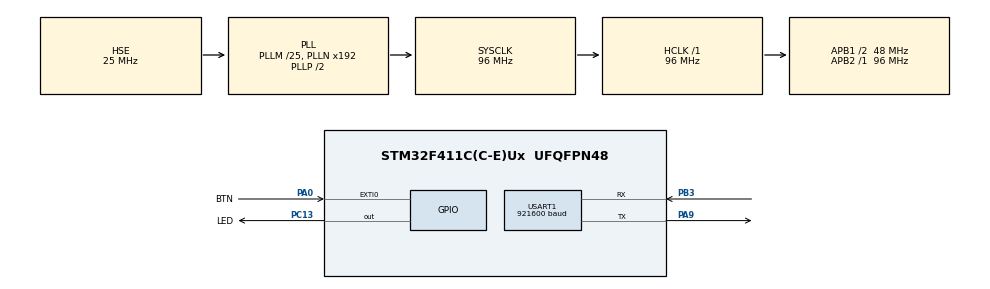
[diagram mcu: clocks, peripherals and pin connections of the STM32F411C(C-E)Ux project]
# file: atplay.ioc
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Dma.Request0=USART1_RX
Dma.USART1_RX.0.Direction=DMA_PERIPH_TO_MEMORY
Dma.USART1_RX.0.FIFOMode=DMA_FIFOMODE_DISABLE
Dma.USART1_RX.0.Instance=DMA2_Stream2
Dma.USART1_RX.0.MemDataAlignment=DMA_MDATAALIGN_BYTE
Dma.USART1_RX.0.MemInc=DMA_MINC_ENABLE
Dma.USART1_RX.0.Mode=DMA_CIRCULAR
Dma.USART1_RX.0.PeriphDataAlignment=DMA_PDATAALIGN_BYTE
Dma.USART1_RX.0.PeriphInc=DMA_PINC_DISABLE
Dma.USART1_RX.0.Priority=DMA_PRIORITY_HIGH
Mcu.Family=STM32F4
Mcu.Name=STM32F411C(C-E)Ux
Mcu.Package=UFQFPN48
NVIC.DMA2_Stream2_IRQn=true\:0\:0\:false\:false\:true\:false\:true\:true
NVIC.PriorityGroup=NVIC_PRIORITYGROUP_4
NVIC.USART1_IRQn=true\:0\:0\:false\:false\:true\:true\:true\:true
PA0-WKUP.GPIO_Label=BTN
PA0-WKUP.GPIO_ModeDefaultEXTI=GPIO_MODE_IT_RISING_FALLING
PA0-WKUP.GPIO_PuPd=GPIO_PULLUP
PA0-WKUP.Signal=GPXTI0
PA13.Mode=Serial_Wire
PA13.Signal=SYS_JTMS-SWDIO
PA14.Mode=Serial_Wire
PA14.Signal=SYS_JTCK-SWCLK
PA9.Mode=Asynchronous
PA9.Signal=USART1_TX
PB3.Mode=Asynchronous
PB3.Signal=USART1_RX
PC13-ANTI_TAMP.GPIO_Label=LED
PC13-ANTI_TAMP.GPIO_ModeDefaultOutputPP=GPIO_MODE_OUTPUT_OD
PC13-ANTI_TAMP.GPIO_PuPd=GPIO_NOPULL
PC13-ANTI_TAMP.PinState=GPIO_PIN_SET
PC13-ANTI_TAMP.Signal=GPIO_Output
PH0\ -\ OSC_IN.Mode=HSE-External-Oscillator
PH0\ -\ OSC_IN.Signal=RCC_OSC_IN
PH1\ -\ OSC_OUT.Mode=HSE-External-Oscillator
PH1\ -\ OSC_OUT.Signal=RCC_OSC_OUT
ProjectManager.HeapSize=0x200
ProjectManager.StackSize=0x400
ProjectManager.TargetToolchain=STM32CubeIDE
RCC.48MHZClocksFreq_Value=48000000
RCC.AHBFreq_Value=96000000
RCC.APB1CLKDivider=RCC_HCLK_DIV2
RCC.APB1Freq_Value=48000000
RCC.APB1TimFreq_Value=96000000
RCC.APB2Freq_Value=96000000
RCC.APB2TimFreq_Value=96000000
RCC.CortexFreq_Value=96000000
RCC.HCLKFreq_Value=96000000
RCC.HSE_VALUE=25000000
RCC.HSI_VALUE=16000000
RCC.LSE_VALUE=32768
RCC.PLLM=25
RCC.PLLSourceVirtual=RCC_PLLSOURCE_HSE
RCC.SYSCLKFreq_VALUE=96000000
RCC.SYSCLKSource=RCC_SYSCLKSOURCE_PLLCLK
RCC.VCOOutputFreq_Value=192000000
USART1.BaudRate=921600
USART1.VirtualMode=VM_ASYNC
board=custom

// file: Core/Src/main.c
/* USER CODE BEGIN Header */
/**
  ******************************************************************************
  * @file           : main.c
  * @brief          : Main program body
  ******************************************************************************
  * @attention
  *
  * Copyright (c) 2022 STMicroelectronics.
  * All rights reserved.
  *
  * This software is licensed under terms that can be found in the LICENSE file
  * in the root directory of this software component.
  * If no LICENSE file comes with this software, it is provided AS-IS.
  *
  ******************************************************************************
  */
/* USER CODE END Header */
#include "main.h"

/* USER CODE BEGIN Includes */
#include "stdio.h"
#include "string.h"
#include "cat.h"
/* USER CODE END Includes */

 UART_HandleTypeDef huart1;
DMA_HandleTypeDef hdma_usart1_rx;

/* USER CODE BEGIN PV */

static uint8_t x;
static uint8_t y;
static char msg[32];

static struct cat_variable go_vars[] = {
        {
                .type = CAT_VAR_UINT_DEC, /* unsigned int variable */
                .data = &x,
                .data_size = sizeof(x),
                .write = x_write,
                .name = "X",
                .access = CAT_VAR_ACCESS_READ_WRITE,
        },
        {
                .type = CAT_VAR_UINT_DEC, /* unsigned int variable */
                .data = &y,
                .data_size = sizeof(y),
                .write = y_write,
                .access = CAT_VAR_ACCESS_READ_WRITE,
        },
        {
                .type = CAT_VAR_BUF_STRING, /* string variable */
                .data = msg,
                .data_size = sizeof(msg),
                .write = msg_write,
                .access = CAT_VAR_ACCESS_READ_WRITE,
        }
};

static struct cat_command cmds[] = {
        {
                .name = "TEST",
                .read = test_read, /* read handler for ATTEST? command */
                .write = test_write, /* write handler for ATTEST={val} command */
                .run = test_run /* run handler for ATTEST command */
        },
        {
                .name = "+NUM",
                .write = num_write, /* write handler for AT+NUM={val} command */
                .read = num_read /* read handler for AT+NUM? command */
        },
        {
                .name = "+GO",
                .write = go_write, /* write handler for AT+GO={x},{y},{msg} command */
                .var = go_vars, /* attach variables to command */
                .var_num = sizeof(go_vars) / sizeof(go_vars[0]),
                .need_all_vars = true
        },
        {
                .name = "RESTART",
                .run = restart_run /* run handler for ATRESTART command */
        }
};

static char working_buf[128]; /* working buffer, must be declared manually */

static struct cat_command_group cmd_group = {
        .cmd = cmds,
        .cmd_num = sizeof(cmds) / sizeof(cmds[0]),
};

static struct cat_command_group *cmd_desc[] = {
        &cmd_group
};

static struct cat_descriptor desc = {
        .cmd_group = cmd_desc,
        .cmd_group_num = sizeof(cmd_desc) / sizeof(cmd_desc[0]),

        .buf = working_buf,
        .buf_size = sizeof(working_buf),
};

static int write_char(char ch)
{
        putc(ch, stdout);
        return 1;
}

static int read_char(char *ch)
{
        *ch = getch();
        return 1;
}

static struct cat_io_interface iface = {
        .read = read_char,
        .write = write_char
};

/* USER CODE END PV */

void SystemClock_Config(void);
static void MX_GPIO_Init(void);
static void MX_DMA_Init(void);
static void MX_USART1_UART_Init(void);

/* USER CODE BEGIN 0 */

// Send printf to uart1
int _write(int fd, char* ptr, int len) {
  HAL_StatusTypeDef hstatus;

  if (fd == 1 || fd == 2) {
    hstatus = HAL_UART_Transmit(&huart1, (uint8_t *) ptr, len, HAL_MAX_DELAY);
  }
  return len;
}

/* USER CODE END 0 */

int main(void)
{

  /* MCU Configuration--------------------------------------------------------*/

  /* Reset of all peripherals, Initializes the Flash interface and the Systick. */
  HAL_Init();

  /* Configure the system clock */
  SystemClock_Config();

  /* Initialize all configured peripherals */
  MX_GPIO_Init();
  MX_DMA_Init();
  MX_USART1_UART_Init();

  /* Infinite loop */
  /* USER CODE BEGIN WHILE */

  uint32_t now = 0, last_blink = 0, last_tick = 0;

  while (1)
  {

	  now = HAL_GetTick();

	  if (now - last_blink >= 500) {

		  HAL_GPIO_TogglePin(LED_GPIO_Port, LED_Pin);

		  last_blink = now;
	  }

	  if (now - last_tick >= 1000) {

		  DBG("Tick %lu", now / 1000);

		  last_tick = now;
	  }

    /* USER CODE END WHILE */

  }
}

void SystemClock_Config(void)
{
  RCC_OscInitTypeDef RCC_OscInitStruct = {0};
  RCC_ClkInitTypeDef RCC_ClkInitStruct = {0};

  /** Configure the main internal regulator output voltage
  */
  __HAL_RCC_PWR_CLK_ENABLE();
  __HAL_PWR_VOLTAGESCALING_CONFIG(PWR_REGULATOR_VOLTAGE_SCALE1);

  /** Initializes the RCC Oscillators according to the specified parameters
  * in the RCC_OscInitTypeDef structure.
  */
  RCC_OscInitStruct.OscillatorType = RCC_OSCILLATORTYPE_HSE;
  RCC_OscInitStruct.HSEState = RCC_HSE_ON;
  RCC_OscInitStruct.PLL.PLLState = RCC_PLL_ON;
  RCC_OscInitStruct.PLL.PLLSource = RCC_PLLSOURCE_HSE;
  RCC_OscInitStruct.PLL.PLLM = 25;
  RCC_OscInitStruct.PLL.PLLN = 192;
  RCC_OscInitStruct.PLL.PLLP = RCC_PLLP_DIV2;
  RCC_OscInitStruct.PLL.PLLQ = 4;
  if (HAL_RCC_OscConfig(&RCC_OscInitStruct) != HAL_OK)
  {
    Error_Handler();
  }

  /** Initializes the CPU, AHB and APB buses clocks
  */
  RCC_ClkInitStruct.ClockType = RCC_CLOCKTYPE_HCLK|RCC_CLOCKTYPE_SYSCLK
                              |RCC_CLOCKTYPE_PCLK1|RCC_CLOCKTYPE_PCLK2;
  RCC_ClkInitStruct.SYSCLKSource = RCC_SYSCLKSOURCE_PLLCLK;
  RCC_ClkInitStruct.AHBCLKDivider = RCC_SYSCLK_DIV1;
  RCC_ClkInitStruct.APB1CLKDivider = RCC_HCLK_DIV2;
  RCC_ClkInitStruct.APB2CLKDivider = RCC_HCLK_DIV1;

  if (HAL_RCC_ClockConfig(&RCC_ClkInitStruct, FLASH_LATENCY_3) != HAL_OK)
  {
    Error_Handler();
  }
}

static void MX_USART1_UART_Init(void)
{

  huart1.Instance = USART1;
  huart1.Init.BaudRate = 921600;
  huart1.Init.WordLength = UART_WORDLENGTH_8B;
  huart1.Init.StopBits = UART_STOPBITS_1;
  huart1.Init.Parity = UART_PARITY_NONE;
  huart1.Init.Mode = UART_MODE_TX_RX;
  huart1.Init.HwFlowCtl = UART_HWCONTROL_NONE;
  huart1.Init.OverSampling = UART_OVERSAMPLING_16;
  if (HAL_UART_Init(&huart1) != HAL_OK)
  {
    Error_Handler();
  }

}

static void MX_DMA_Init(void)
{

  /* DMA controller clock enable */
  __HAL_RCC_DMA2_CLK_ENABLE();

  /* DMA interrupt init */
  /* DMA2_Stream2_IRQn interrupt configuration */
  HAL_NVIC_SetPriority(DMA2_Stream2_IRQn, 0, 0);
  HAL_NVIC_EnableIRQ(DMA2_Stream2_IRQn);

}

static void MX_GPIO_Init(void)
{
  GPIO_InitTypeDef GPIO_InitStruct = {0};

  /* GPIO Ports Clock Enable */
  __HAL_RCC_GPIOC_CLK_ENABLE();
  __HAL_RCC_GPIOH_CLK_ENABLE();
  __HAL_RCC_GPIOA_CLK_ENABLE();
  __HAL_RCC_GPIOB_CLK_ENABLE();

  /*Configure GPIO pin Output Level */
  HAL_GPIO_WritePin(LED_GPIO_Port, LED_Pin, GPIO_PIN_SET);

  /*Configure GPIO pin : LED_Pin */
  GPIO_InitStruct.Pin = LED_Pin;
  GPIO_InitStruct.Mode = GPIO_MODE_OUTPUT_OD;
  GPIO_InitStruct.Pull = GPIO_NOPULL;
  GPIO_InitStruct.Speed = GPIO_SPEED_FREQ_LOW;
  HAL_GPIO_Init(LED_GPIO_Port, &GPIO_InitStruct);

  /*Configure GPIO pin : BTN_Pin */
  GPIO_InitStruct.Pin = BTN_Pin;
  GPIO_InitStruct.Mode = GPIO_MODE_IT_RISING_FALLING;
  GPIO_InitStruct.Pull = GPIO_PULLUP;
  HAL_GPIO_Init(BTN_GPIO_Port, &GPIO_InitStruct);

}

void Error_Handler(void)
{
  __disable_irq();
  while (1)
  {
  }
}
